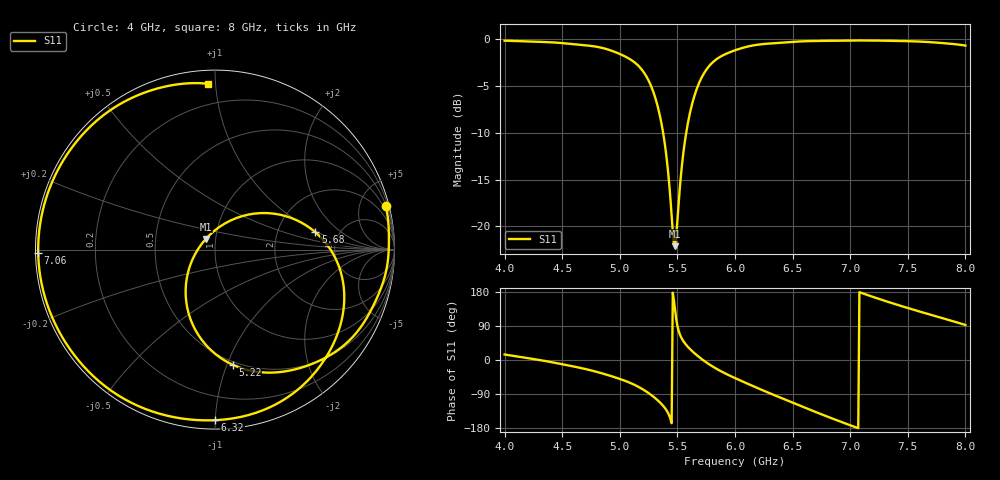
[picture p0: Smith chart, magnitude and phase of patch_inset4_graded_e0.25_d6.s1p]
! NobuRF patch_inset4_graded_e0.25_d6: port "feed", 8800 steps
# GHz S RI R 50
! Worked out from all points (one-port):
!   401 points, 4 GHz to 8 GHz, reference 50 ohm
!   lowest |S11| = -22.1 dB at 5.48 GHz (marker M1), VSWR 1.17, Z = 44.8 + j5.37 ohm
!   |S11| at or under -10 dB: 5.376 GHz to 5.576 GHz (200.4 MHz wide, 3.66 % of centre)
!   S11 on the Smith chart (normalised r, x): 4 GHz: 0.56, +7.83; 5.22 GHz: 0.47, -1.05; 5.68 GHz: 3.33, +0.95; 6.32 GHz: 0.05, -1.00; 7.06 GHz: 0.01, -0.01; 8 GHz: 0.07, +0.96
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4  0.9512 0.2456
4.5  0.9359 -0.1839
4.78  0.7952 -0.4542
5  0.537 -0.6384
5.13  0.3062 -0.6855
5.22  0.0988 -0.6417
5.29  -0.0583 -0.5224
5.36  -0.1546 -0.3244
5.41  -0.1568 -0.1566
5.46  -0.0936 0.00393
5.48  -0.0511 0.0595
5.5  -0.0002 0.1077
5.54  0.1208 0.1765
5.57  0.2215 0.2008
5.68  0.5596 0.0965
5.75  0.6823 -0.0732
5.82  0.7203 -0.2592
6  0.5878 -0.6455
6.16  0.3272 -0.8679
6.32  -0.0013 -0.9505
6.5  -0.3698 -0.8947
6.76  -0.7973 -0.5698
7  -0.9759 -0.1335
7.06  -0.985 -0.0197
7.26  -0.9247 0.3336
7.5  -0.7164 0.6639
7.75  -0.4028 0.8709
8  -0.0386 0.9241
